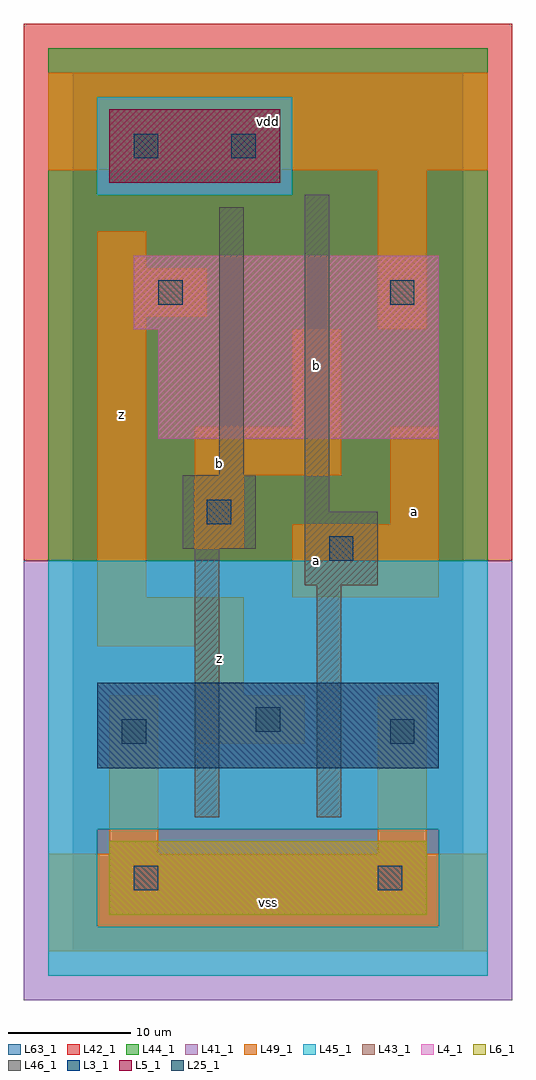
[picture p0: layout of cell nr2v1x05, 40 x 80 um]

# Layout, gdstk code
import gdstk
lib = gdstk.Library(unit=1e-6, precision=1e-09)
def R(c, l, rs):  # rectangles x0, y0, x1, y1
    for r in rs: c.add(gdstk.rectangle(r[:2], r[2:], *l))
L3_1 = (3, 1)
L4_1 = (4, 1)
L5_1 = (5, 1)
L6_1 = (6, 1)
L25_1 = (25, 1)
L41_1 = (41, 1)
L42_1 = (42, 1)
L43_1 = (43, 1)
L44_1 = (44, 1)
L45_1 = (45, 1)
L46_1 = (46, 1)
L49_1 = (49, 1)
L63_1 = (63, 1)

nr2v1x05 = lib.new_cell('nr2v1x05')
R(nr2v1x05, L3_1, [(2,15,30,22)])
R(nr2v1x05, L4_1, [(7,42,30,51), (5,51,30,57)])
R(nr2v1x05, L5_1, [(3,63,17,69)])
R(nr2v1x05, L6_1, [(3,3,29,9), (3,3,29,9)])
R(nr2v1x05, L25_1, [(5,5,7,7), (25,5,27,7), (4,17,6,19), (26,17,28,19), (15,18,17,20), (21,32,23,34), (11,35,13,37), (7,53,9,55), (26,53,28,55), (5,65,7,67), (13,65,15,67)])
R(nr2v1x05, L41_1, [(-4,-4,36,32)])
R(nr2v1x05, L42_1, [(-4,32,36,76)])
R(nr2v1x05, L43_1, [(3,3,29,9), (2,15,30,22), (7,42,30,51), (5,51,30,57), (3,63,17,69)])
R(nr2v1x05, L44_1, [(2,2,30,10), (-2,32,34,62), (-2,62,2,70), (18,62,34,70), (-2,70,34,74)])
R(nr2v1x05, L45_1, [(-2,-2,34,2), (-2,2,2,10), (30,2,34,10), (-2,10,34,32), (2,62,18,70)])
R(nr2v1x05, L46_1, [(10,11,12,33), (20,11,22,30), (19,30,25,36), (9,33,15,39), (19,36,21,62), (12,39,14,61)])
R(nr2v1x05, L49_1, [(-2,0,34,8), (3,8,7,21), (25,8,29,21), (10,17,19,21), (10,21,14,25), (2,25,14,29), (2,29,6,52), (18,29,30,35), (10,33,14,39), (26,35,30,43), (10,39,22,43), (18,43,22,51), (25,51,29,64), (2,52,11,56), (2,56,6,59), (-2,64,34,72)])
R(nr2v1x05, L63_1, [(0,0,32,72)])
nr2v1x05.add(gdstk.Label('z', (4,44), layer=49, texttype=1))
nr2v1x05.add(gdstk.Label('z', (12,24), layer=49, texttype=1))
nr2v1x05.add(gdstk.Label('b', (12,40), layer=49, texttype=1))
nr2v1x05.add(gdstk.Label('vss', (16,4), layer=49, texttype=1))
nr2v1x05.add(gdstk.Label('a', (20,32), layer=49, texttype=1))
nr2v1x05.add(gdstk.Label('b', (20,48), layer=49, texttype=1))
nr2v1x05.add(gdstk.Label('vdd', (16,68), layer=49, texttype=1))
nr2v1x05.add(gdstk.Label('a', (28,36), layer=49, texttype=1))

lib.write_gds('nr2v1x05.gds')
